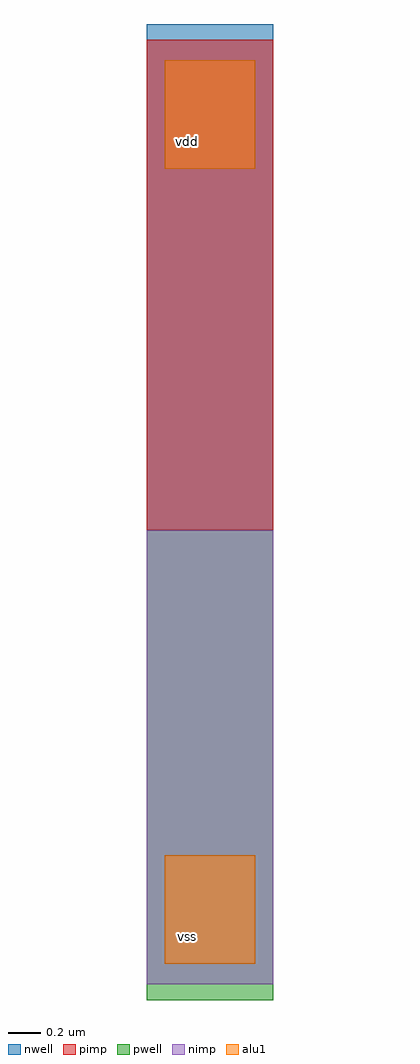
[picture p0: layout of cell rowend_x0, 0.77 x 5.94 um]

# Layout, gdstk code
import gdstk
lib = gdstk.Library(unit=1e-6, precision=2.5e-09)
def R(c, l, rs):  # rectangles x0, y0, x1, y1
    for r in rs: c.add(gdstk.rectangle(r[:2], r[2:], *l))
pwell = (41, 0)
nwell = (42, 0)
pimp = (44, 0)
nimp = (45, 0)
alu1 = (49, 0)

rowend_x0 = lib.new_cell('rowend_x0')
R(rowend_x0, pwell, [(-0.11,-0.22,0.66,2.64)])
R(rowend_x0, nwell, [(-0.11,2.64,0.66,5.72)])
R(rowend_x0, pimp, [(-0.11,2.64,0.66,5.625)])
R(rowend_x0, nimp, [(-0.11,-0.125,0.66,2.64)])
R(rowend_x0, alu1, [(0,0,0.55,0.66), (0,4.84,0.55,5.5)])
rowend_x0.add(gdstk.Label('vss', (0.1375,0.165), layer=49, texttype=0))
rowend_x0.add(gdstk.Label('vdd', (0.1375,5.005), layer=49, texttype=0))

lib.write_gds('rowend_x0.gds')
